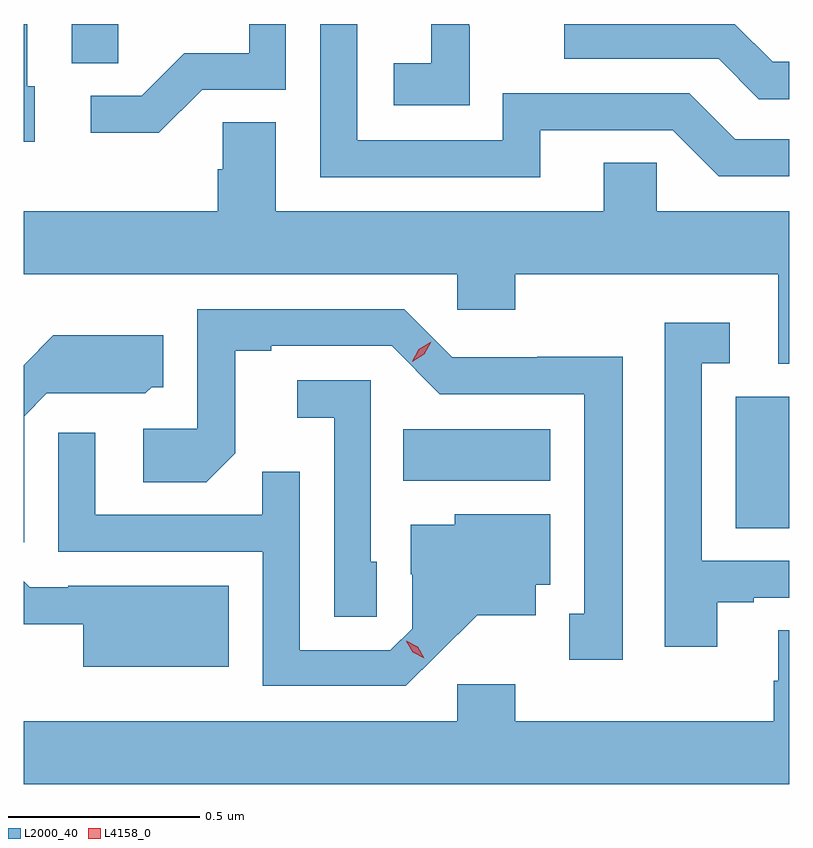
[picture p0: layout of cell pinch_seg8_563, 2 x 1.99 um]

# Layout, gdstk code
import gdstk
lib = gdstk.Library(unit=1e-6, precision=1e-09)
def R(c, l, rs):  # rectangles x0, y0, x1, y1
    for r in rs: c.add(gdstk.rectangle(r[:2], r[2:], *l))
def P(c, l, *ps):  # polygons
    for p in ps: c.add(gdstk.Polygon(p, *l))
L2000_40 = (2000, 40)
L4158_0 = (4158, 0)

pinch_seg8_563 = lib.new_cell('pinch_seg8_563')
R(pinch_seg8_563, L2000_40, [(143.786,1106.512,143.926,1106.856), (142.918,1106.636,143.302,1106.77), (142.052,1107.727,142.173,1107.829)])
P(pinch_seg8_563, L2000_40, [(142.392,1107.657),(142.611,1107.657),(142.611,1107.829),(142.515,1107.829),(142.515,1107.753),(142.346,1107.753),(142.235,1107.642),(142.101,1107.642),(142.101,1107.545),(142.279,1107.545)],
  [(143.091,1107.823),(143.09,1107.823),(143.09,1107.829),(142.991,1107.829),(142.991,1107.727),(142.893,1107.727),(142.893,1107.617),(143.091,1107.617)],
  [(143.926,1107.73),(143.882,1107.73),(143.783,1107.829),(143.338,1107.829),(143.338,1107.738),(143.741,1107.738),(143.846,1107.633),(143.926,1107.633)],
  [(143.275,1107.552),(143.622,1107.552),(143.742,1107.432),(143.926,1107.432),(143.926,1107.528),(143.784,1107.528),(143.664,1107.648),(143.178,1107.648),(143.178,1107.525),(142.797,1107.525),(142.797,1107.829),(142.701,1107.829),(142.701,1107.429),(143.275,1107.429)],
  [(141.955,1107.666),(141.936,1107.666),(141.936,1107.829),(141.926,1107.829),(141.926,1107.522),(141.955,1107.522)],
  [(143.926,1107.34),(143.58,1107.34),(143.58,1107.467),(143.441,1107.467),(143.441,1107.34),(142.585,1107.34),(142.585,1107.572),(142.446,1107.572),(142.446,1107.449),(142.433,1107.449),(142.433,1107.34),(141.926,1107.34),(141.926,1107.176),(143.058,1107.176),(143.058,1107.083),(143.21,1107.083),(143.21,1107.176),(143.897,1107.176),(143.897,1106.941),(143.926,1106.941)],
  [(143.491,1106.96),(143.268,1106.96),(143.268,1106.958),(143.046,1106.958),(142.92,1107.084),(142.38,1107.084),(142.38,1106.772),(142.239,1106.772),(142.239,1106.632),(142.403,1106.632),(142.479,1106.708),(142.479,1106.976),(142.573,1106.976),(142.573,1106.988),(142.887,1106.988),(143.013,1106.862),(143.39,1106.862),(143.39,1106.289),(143.351,1106.289),(143.351,1106.169),(143.491,1106.169)],
  [(143.737,1106.319),(143.833,1106.319),(143.833,1106.331),(143.926,1106.331),(143.926,1106.427),(143.697,1106.427),(143.697,1106.943),(143.77,1106.943),(143.77,1107.049),(143.601,1107.049),(143.601,1106.202),(143.737,1106.202)],
  [(141.927,1106.805),(141.987,1106.865),(142.11,1106.865),(142.11,1106.864),(142.244,1106.864),(142.26,1106.88),(142.291,1106.88),(142.291,1107.016),(142.003,1107.016),(141.926,1106.938),(141.926,1106.476),(141.927,1106.476)],
  [(142.848,1106.424),(142.833,1106.424),(142.833,1106.898),(142.641,1106.898),(142.641,1106.801),(142.737,1106.801),(142.737,1106.281),(142.848,1106.281)],
  [(143.008,1106.183),(143.111,1106.285),(143.263,1106.285),(143.263,1106.364),(143.302,1106.364),(143.302,1106.548),(143.052,1106.548),(143.052,1106.521),(142.937,1106.521),(142.937,1106.392),(142.941,1106.392),(142.941,1106.25),(142.884,1106.193),(142.647,1106.193),(142.647,1106.66),(142.549,1106.66),(142.549,1106.547),(142.113,1106.547),(142.113,1106.761),(142.017,1106.761),(142.017,1106.451),(142.551,1106.451),(142.551,1106.1),(142.924,1106.1)],
  [(142.462,1106.362),(142.042,1106.362),(142.042,1106.358),(141.942,1106.358),(141.926,1106.374),(141.926,1106.261),(142.082,1106.261),(142.082,1106.15),(142.462,1106.15)],
  [(143.926,1106.246),(143.897,1106.246),(143.897,1106.114),(143.885,1106.114),(143.885,1106.008),(143.21,1106.008),(143.21,1106.104),(143.058,1106.104),(143.058,1106.008),(141.926,1106.008),(141.926,1105.844),(143.926,1105.844)])
P(pinch_seg8_563, L4158_0, [(142.941,1106.947),(142.941,1106.948),(142.958,1106.98),(142.99,1106.999),(142.99,1106.999),(142.99,1106.999),(142.973,1106.966),(142.941,1106.947)],
  [(142.973,1106.172),(142.942,1106.188),(142.925,1106.217),(142.925,1106.218),(142.925,1106.218),(142.956,1106.202),(142.973,1106.173),(142.973,1106.172)])

lib.write_gds('pinch_seg8_563.gds')
